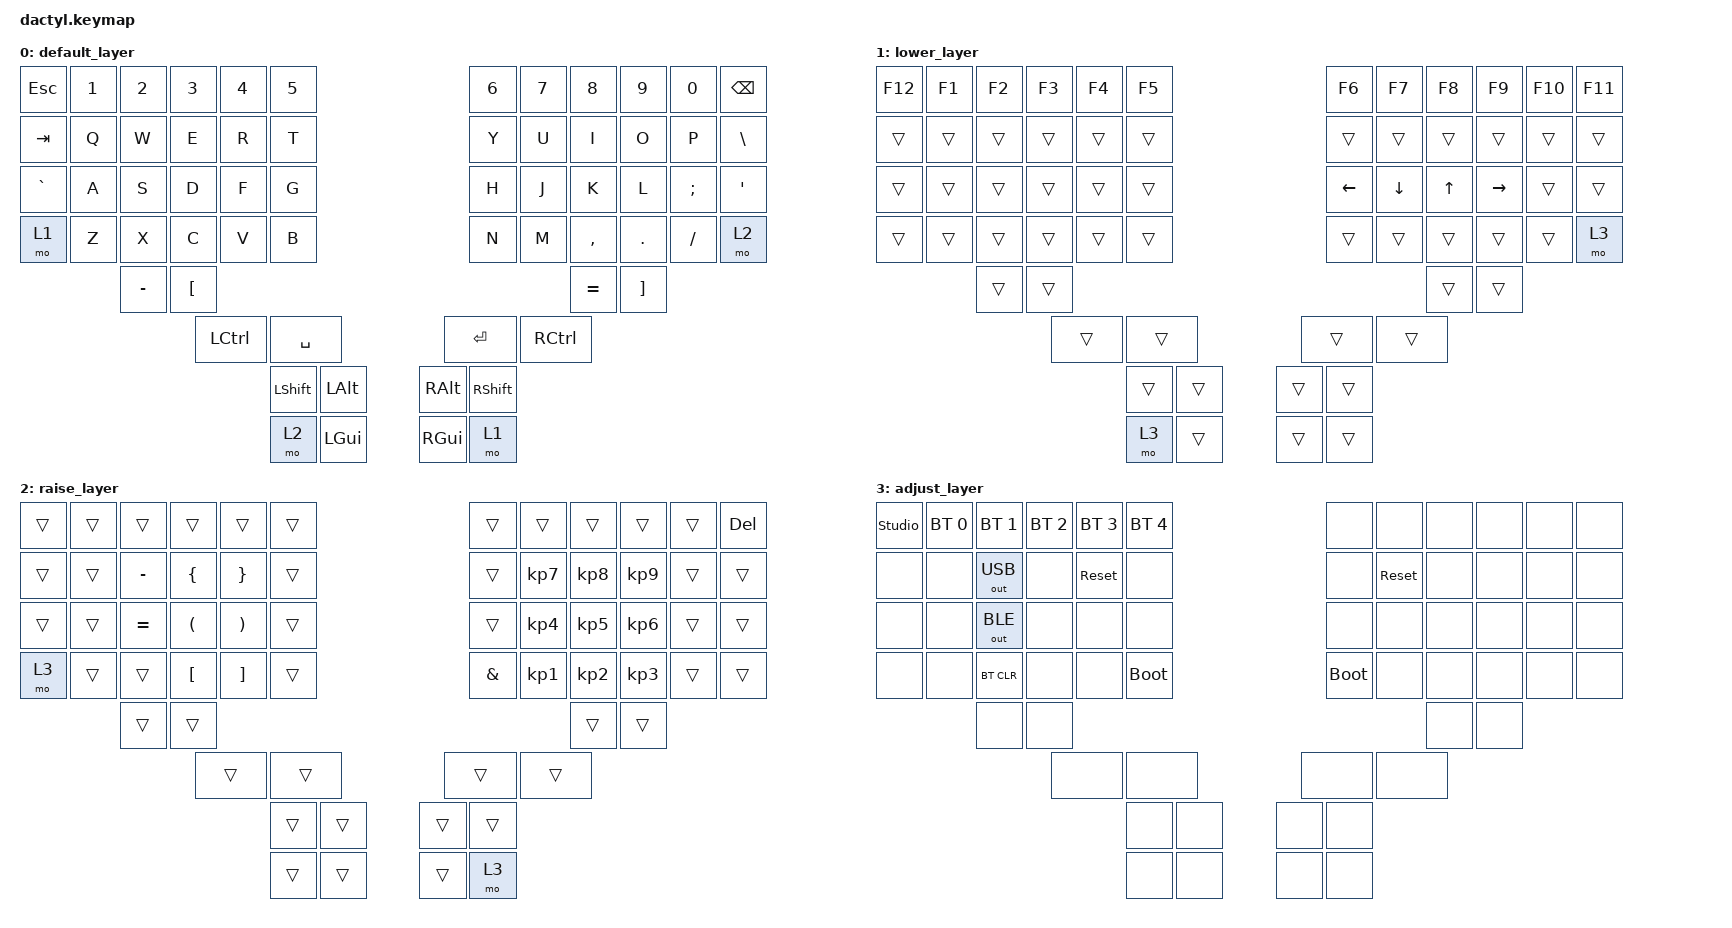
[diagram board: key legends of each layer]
#include <behaviors.dtsi>
#include <dt-bindings/zmk/keys.h>
#include <dt-bindings/zmk/bt.h>
#include <dt-bindings/zmk/outputs.h>

&sl {
    release-after-ms = <5000>;
};


&kscan0 {
debounce-press-ms = <30>;
debounce-release-ms = <30>;
};

/ {
    keymap {
        compatible = "zmk,keymap";

        default_layer {
            bindings = <
                &kp ESC   &kp N1 &kp N2 &kp N3 &kp N4 &kp N5              &kp N6 &kp N7 &kp N8    &kp N9  &kp N0   &kp BSPC
                &kp TAB   &kp Q  &kp W  &kp E  &kp R  &kp T               &kp Y  &kp U  &kp I     &kp O   &kp P    &kp BSLH
                &kp GRAVE &kp A  &kp S  &kp D  &kp F  &kp G               &kp H  &kp J  &kp K     &kp L   &kp SEMI &kp SQT
                &mo 1     &kp Z  &kp X  &kp C  &kp V  &kp B               &kp N  &kp M  &kp COMMA &kp DOT &kp FSLH &mo 2
                                 &kp MINUS &kp LBKT                                     &kp EQUAL &kp RBKT 
                                        &kp LCTRL &kp SPACE                      &kp RET &kp RCTRL
                                               &kp LSHFT &kp LALT         &kp RALT &kp RSHFT 
                                               &mo 2 &kp LGUI             &kp RGUI &mo 1
            >;
        };

        lower_layer {
            bindings = <
                &kp F12 &kp F1 &kp F2 &kp F3 &kp F4 &kp F5                &kp F6 &kp F7   &kp F8   &kp F9 &kp F10   &kp F11
                &trans  &trans &trans &trans &trans &trans                &trans &trans   &trans   &trans &trans    &trans
                &trans  &trans &trans &trans &trans &trans                &kp LEFT &kp DOWN &kp UP &kp RIGHT &trans &trans 
                &trans  &trans &trans &trans &trans &trans                &trans &trans   &trans   &trans &trans    &mo 3
                               &trans &trans                                              &trans   &trans
                                      &trans &trans                              &trans   &trans
                                             &trans &trans                &trans &trans
                                             &mo 3  &trans                &trans &trans 

            >;
        };

        raise_layer {
            bindings = <
                &trans  &trans &trans &trans   &trans &trans              &trans &trans &trans &trans &trans &kp DEL
                &trans  &trans &kp MINUS &kp LBRC  &kp RBRC &trans        &trans &kp KP_N7 &kp KP_N8 &kp KP_N9 &trans &trans
                &trans  &trans &kp EQUAL &kp LPAR  &kp RPAR &trans        &trans &kp KP_N4 &kp KP_N5 &kp KP_N6 &trans &trans
                &mo 3   &trans &trans &kp LBKT &kp RBKT &trans            &kp AMPS &kp KP_N1 &kp KP_N2 &kp KP_N3 &trans &trans
                               &trans &trans                                              &trans   &trans
                                      &trans &trans                              &trans   &trans
                                             &trans &trans                &trans &trans
                                             &trans &trans                &trans &mo 3
            >;
        };

        adjust_layer {
            bindings = <
                &studio_unlock &bt BT_SEL 0 &bt BT_SEL 1 &bt BT_SEL 2 &bt BT_SEL 3 &bt BT_SEL 4             &none       &none      &none &none &none &none
                &none &none        &out OUT_USB &none        &sys_reset   &none                    &none       &sys_reset &none &none &none &none
                &none &none        &out OUT_BLE &none        &none        &none                    &none       &none      &none &none &none &none
                &none &none        &bt BT_CLR   &none        &none        &bootloader              &bootloader &none      &none &none &none &none
                        &none &none &none &none                          &none &none &none &none
                        &none &none &none &none                          &none &none &none &none
            >;
        };
    };
};
